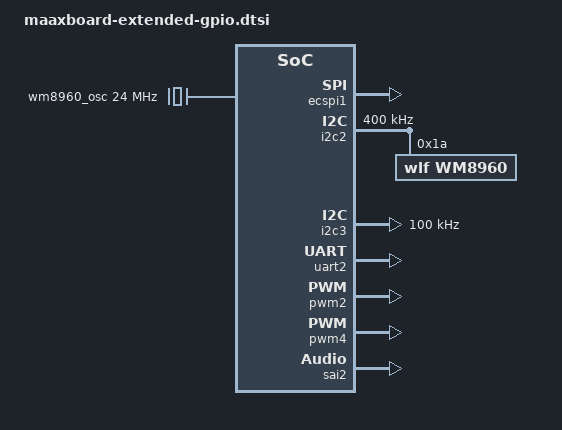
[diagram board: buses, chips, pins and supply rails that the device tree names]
/*
 * Copyright 2019 EMBEST
 *
 * This program is free software; you can redistribute it and/or
 * modify it under the terms of the GNU General Public License
 * as published by the Free Software Foundation; either version 2
 * of the License, or (at your option) any later version.
 *
 * This program is distributed in the hope that it will be useful,
 * but WITHOUT ANY WARRANTY; without even the implied warranty of
 * MERCHANTABILITY or FITNESS FOR A PARTICULAR PURPOSE.  See the
 * GNU General Public License for more details.
 */

/* 40-pin extended GPIO, expanded into SPI, I2C, PWM and other interfaces */

&iomuxc {
	pinctrl-names = "default";
	pinctrl-0 = <&pinctrl_hog>;

	imx8mq-evk {
		pinctrl_hog: hoggrp {
			fsl,pins = <
				/*Default GPIOs*/
				MX8MQ_IOMUXC_NAND_READY_B_GPIO3_IO16	0x19	/* PIN 7,  GPIO 4  */
				MX8MQ_IOMUXC_NAND_WE_B_GPIO3_IO17		0x19	/* PIN 11, GPIO 17 */
				MX8MQ_IOMUXC_NAND_DATA02_GPIO3_IO8		0x19	/* PIN 13, GPIO 27 */
				MX8MQ_IOMUXC_NAND_DATA03_GPIO3_IO9		0x19	/* PIN 15, GPIO 22 */
				MX8MQ_IOMUXC_NAND_RE_B_GPIO3_IO15		0x19	/* PIN 22, GPIO 25 */
				MX8MQ_IOMUXC_GPIO1_IO03_GPIO1_IO3		0x19	/* PIN 36, GPIO 16 */
				MX8MQ_IOMUXC_NAND_DATA05_GPIO3_IO11		0x19	/* PIN 37, GPIO 26 */
				MX8MQ_IOMUXC_NAND_CE1_B_GPIO3_IO2		0x19	/* PIN 26, GPIO 8  */
				MX8MQ_IOMUXC_NAND_CLE_GPIO3_IO5			0x19	/* PIN 29, GPIO 5  */
				MX8MQ_IOMUXC_NAND_DATA04_GPIO3_IO10		0x19	/* PIN 31, GPIO 6  */
			>;
		};

		pinctrl_ecspi1: ecspi1grp {
				fsl,pins = <
				MX8MQ_IOMUXC_ECSPI1_SS0_GPIO5_IO9		0x16
				MX8MQ_IOMUXC_ECSPI1_MOSI_ECSPI1_MOSI	0x16
				MX8MQ_IOMUXC_ECSPI1_MISO_ECSPI1_MISO	0x16
				MX8MQ_IOMUXC_ECSPI1_SCLK_ECSPI1_SCLK	0x1816
			>;
		};

		pinctrl_i2c2: i2c2grp {
			fsl,pins = <
				MX8MQ_IOMUXC_I2C2_SCL_I2C2_SCL			0x4000007f
				MX8MQ_IOMUXC_I2C2_SDA_I2C2_SDA			0x4000007f
			>;
		};

		pinctrl_i2c3: i2c3grp {
			fsl,pins = <
				MX8MQ_IOMUXC_I2C3_SCL_I2C3_SCL			0x4000007f
				MX8MQ_IOMUXC_I2C3_SDA_I2C3_SDA			0x4000007f
			>;
		};

		pinctrl_uart2: uart2grp {
			fsl,pins = <
				MX8MQ_IOMUXC_UART2_RXD_UART2_DCE_RX		0x49
				MX8MQ_IOMUXC_UART2_TXD_UART2_DCE_TX		0x49
			>;
		};

		pinctrl_pwm2: pwm2_grp {
			fsl,pins = <
					MX8MQ_IOMUXC_GPIO1_IO13_PWM2_OUT	0x06
			>;
		};

		pinctrl_pwm4: pwm4_grp {
			fsl,pins = <
					MX8MQ_IOMUXC_GPIO1_IO15_PWM4_OUT	0x06
			>;
		};

		pinctrl_sai2: sai2grp {
			fsl,pins = <
					MX8MQ_IOMUXC_SAI2_TXFS_SAI2_TX_SYNC     0xd6
					MX8MQ_IOMUXC_SAI2_TXC_SAI2_TX_BCLK      0xd6
					MX8MQ_IOMUXC_SAI2_RXD0_SAI2_RX_DATA0    0xd6
					MX8MQ_IOMUXC_SAI2_TXD0_SAI2_TX_DATA0    0xd6
			>;
		};
	};
};

&ecspi1{
	fsl,spi-num-chipselects = < 1 >;
	cs-gpios = <&gpio5 13 0 > ;
	pinctrl-names = "default";
	pinctrl-0 = <&pinctrl_ecspi1 >;
	status = "okay";
};

&i2c2 {
	clock-frequency = <400000>;
	pinctrl-names = "default";
	pinctrl-0 = <&pinctrl_i2c2>;
	status = "okay";

	wm8960: wm8960@1a {
		#sound-dai-cells = <0>;
		compatible = "wlf,wm8960";
		reg = <0x1a>;
		clocks = <&wm8960_osc>;
		clock-names = "mclk";
		wlf,shared-lrclk;
	};
};

&i2c3 {
	clock-frequency = <100000>;
	pinctrl-names = "default";
	pinctrl-0 = <&pinctrl_i2c3>;
	status = "okay";
};

&uart2 {
	pinctrl-names = "default";
	pinctrl-0 = <&pinctrl_uart2>;
	assigned-clocks = <&clk IMX8MQ_CLK_UART2>;
	assigned-clock-parents = <&clk IMX8MQ_CLK_25M>;
	status = "okay";
};

&pwm2 {
        pinctrl-names = "default";
        pinctrl-0 = <&pinctrl_pwm2>;
        status = "okay";
};

&pwm4 {
        pinctrl-names = "default";
        pinctrl-0 = <&pinctrl_pwm4>;
        status = "okay";
};

/ {
    sound-wm8960 {
		compatible = "simple-audio-card";
		simple-audio-card,name = "wm8960-sound-audio";
		simple-audio-card,bitclock-master = <&dailink_master>;
		simple-audio-card,frame-master = <&dailink_master>;
		simple-audio-card,format = "i2s";
		status = "okay";
		simple-audio-card,widgets =
                "Microphone", "Mic Jack",
                "Line", "Line In",
                "Line", "Line Out",
                "Speaker", "Speaker",
                "Headphone", "Headphone Jack";
		simple-audio-card,routing =
                "Headphone Jack", "HP_L",
                "Headphone Jack", "HP_R",
                "Speaker", "SPK_LP",
                "Speaker", "SPK_LN",
                "Speaker", "SPK_RP",
                "Speaker", "SPK_RN",
                "LINPUT1", "Mic Jack",
                "LINPUT3", "Mic Jack",
                "RINPUT1", "Mic Jack",
                "RINPUT2", "Mic Jack",
                "Mic Jack", "MICB";

		simple-audio-card,cpu {
			sound-dai = <&sai2>;
		};
		dailink_master: simple-audio-card,codec {
			sound-dai = <&wm8960>;
			clocks = <&wm8960_osc>;
		};
	};

    wm8960_osc: wm8960_mclk {
            compatible = "fixed-clock";
            #clock-cells = <0>;
            clock-frequency = <24000000>;
            clock-output-names = "wm8960-mclk";
    };
};

&sai2 {
	pinctrl-names = "default";
	#sound-dai-cells = <0>;
	pinctrl-0 = <&pinctrl_sai2>;
	assigned-clocks = <&clk IMX8MQ_CLK_SAI2>;
	assigned-clock-parents = <&clk IMX8MQ_AUDIO_PLL1_OUT>;
	assigned-clock-rates = <24576000>;
	status = "okay";
};
